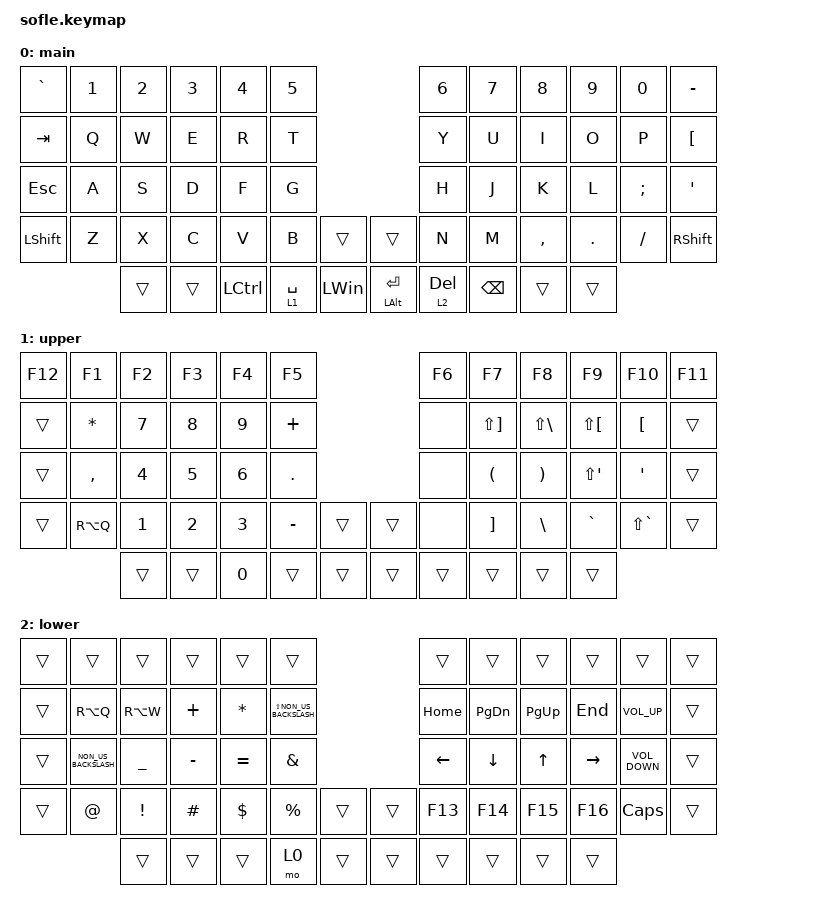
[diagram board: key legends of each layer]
/*
 * Copyright (c) 2020 The ZMK Contributors
 *
 * SPDX-License-Identifier: MIT
 */

#include <behaviors.dtsi>
#include <dt-bindings/zmk/keys.h>

#define BASE 0
#define LOWER 1
#define RAISE 2
#define ADJUST 3

&led_strip { chain-length = <30>; };

/ {
    // Activate ADJUST layer by pressing raise and lower

    conditional_layers { compatible = "zmk,conditional-layers"; };

    combos {
        compatible = "zmk,combos";

        crtl_shift {
            bindings = <&kp LC(LEFT_SHIFT)>;
            key-positions = <37 52>;
        };

        left_shift {
            bindings = <&kp LEFT_SHIFT>;
            key-positions = <27 28>;
        };

        right_shift {
            bindings = <&kp RIGHT_SHIFT>;
            key-positions = <31 32>;
        };
    };

    keymap {
        compatible = "zmk,keymap";

        main {
            display-name = "main";

            // ------------------------------------------------------------------------------------------------------------
            // |   `   |  1  |  2  |  3   |  4   |  5   |                   |  6   |  7    |  8    |  9   |   0   |       |
            // |  ESC  |  Q  |  W  |  E   |  R   |  T   |                   |  Y   |  U    |  I    |  O   |   P   | BKSPC |
            // |  TAB  |  A  |  S  |  D   |  F   |  G   |                   |  H   |  J    |  K    |  L   |   ;   |   '   |
            // | SHIFT |  Z  |  X  |  C   |  V   |  B   |  MUTE  |  |       |  N   |  M    |  ,    |  .   |   /   | SHIFT |
            //               | GUI | ALT  | CTRL | LOWER|  ENTER |  | SPACE | RAISE| CTRL  | ALT   | GUI  |

            bindings = <
&kp GRAVE   &kp NUMBER_1  &kp NUMBER_2  &kp NUMBER_3  &kp NUMBER_4  &kp NUMBER_5                                      &kp NUMBER_6  &kp NUMBER_7   &kp NUMBER_8  &kp NUMBER_9  &kp NUMBER_0   &kp MINUS
&kp TAB     &kp Q         &kp W         &kp E         &kp R         &kp T                                             &kp Y         &kp U          &kp I         &kp O         &kp P          &kp LEFT_BRACKET
&kp ESC     &kp A         &kp S         &kp D         &kp F         &kp G                                             &kp H         &kp J          &kp K         &kp L         &kp SEMICOLON  &kp SINGLE_QUOTE
&kp LSHIFT  &kp Z         &kp X         &kp C         &kp V         &kp B         &trans          &trans              &kp N         &kp M          &kp COMMA     &kp DOT       &kp SLASH      &kp RSHIFT
                          &trans        &trans        &kp LCTRL     &lt 1 SPACE   &kp LEFT_WIN    &mt LEFT_ALT ENTER  &lt 2 DELETE  &kp BACKSPACE  &trans        &trans
            >;
        };

        upper {
            display-name = "upper";
            bindings = <
&kp F12  &kp F1        &kp F2        &kp F3        &kp F4        &kp F5                       &kp F6  &kp F7                 &kp F8                 &kp F9                &kp F10           &kp F11
&trans   &kp ASTERISK  &kp NUMBER_7  &kp NUMBER_8  &kp NUMBER_9  &kp PLUS                     &none   &kp LS(RIGHT_BRACKET)  &kp LS(BACKSLASH)      &kp LS(LEFT_BRACKET)  &kp LEFT_BRACKET  &trans
&trans   &kp COMMA     &kp NUMBER_4  &kp NUMBER_5  &kp NUMBER_6  &kp DOT                      &none   &kp LEFT_PARENTHESIS   &kp RIGHT_PARENTHESIS  &kp LS(APOSTROPHE)    &kp APOSTROPHE    &trans
&trans   &kp RA(Q)     &kp NUMBER_1  &kp NUMBER_2  &kp NUMBER_3  &kp MINUS  &trans    &trans  &none   &kp RIGHT_BRACKET      &kp BACKSLASH          &kp GRAVE             &kp LS(GRAVE)     &trans
                       &trans        &trans        &kp NUMBER_0  &trans     &trans    &trans  &trans  &trans                 &trans                 &trans
            >;
        };

        lower {
            display-name = "lower";
            bindings = <
&trans  &trans                &trans           &trans     &trans        &trans                                      &trans    &trans         &trans       &trans     &trans             &trans
&trans  &kp RA(Q)             &kp RA(W)        &kp PLUS   &kp ASTERISK  &kp LS(NON_US_BACKSLASH)                    &kp HOME  &kp PAGE_DOWN  &kp PAGE_UP  &kp END    &kp C_VOLUME_UP    &trans
&trans  &kp NON_US_BACKSLASH  &kp UNDERSCORE   &kp MINUS  &kp EQUAL     &kp AMPERSAND                               &kp LEFT  &kp DOWN       &kp UP       &kp RIGHT  &kp C_VOLUME_DOWN  &trans
&trans  &kp AT_SIGN           &kp EXCLAMATION  &kp HASH   &kp DOLLAR    &kp PERCENT               &trans    &trans  &kp F13   &kp F14        &kp F15      &kp F16    &kp CAPS           &trans
                              &trans           &trans     &trans        &mo 0                     &trans    &trans  &trans    &trans         &trans       &trans
            >;
        };
    };
};
